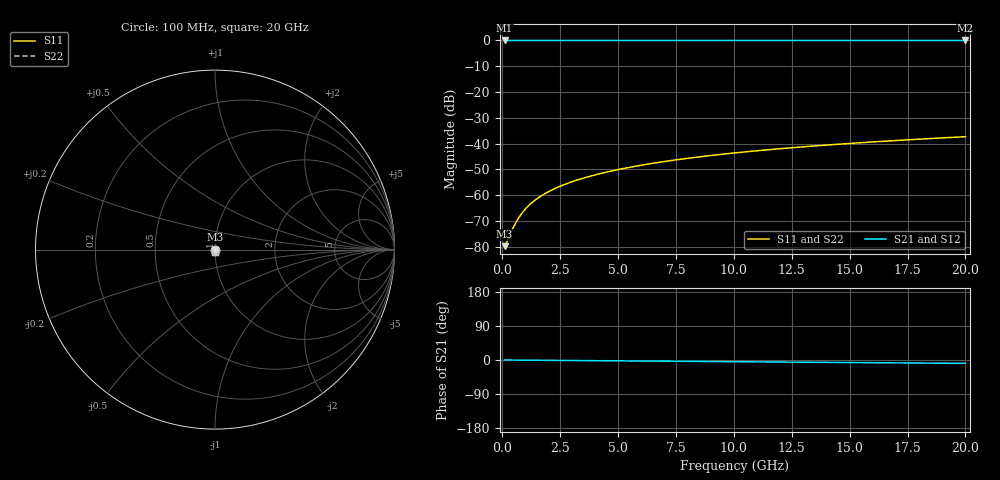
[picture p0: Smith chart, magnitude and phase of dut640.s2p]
! Touchstone file exported from HFSS 2026.1.0
!  File:  C:/ffzhzh/LocalFiles/Ansys_Project_Files/temp_train_TSV_640_1783026441_46388.aedt
!  Generated:  05:09:06 AM Jul  3, 2026
!  Design:  TSV
!  Project:  temp_train_TSV_640_1783026441_46388
! Variables:
!  h_bsmrdl = 2um
!  h_ox = 20um
!  h_rdl = 5um
!  h_sub = 90.68um
!  h_tmrdl = 5um
!  h_tsv = 90.68um
!  h_via = 3um
!  l_bsmrdl = 300um
!  l_sub = 425.3um
!  l_tmrdl = 200um
!  m_sub = 200um
!  pitch = 46.59um
!  r_tsv = 12.65um
!  s_tmrdl = 10um
!  w_bsmrdl = 18um
!  w_sub = 500um
!  w_tmrdl = 12um
!  x_tsv_center1 = 206um
!  x_tsv_center2 = 524um
!  x_tsv_center3 = 736um
!  x_tsv_center4 = 1054um
!  x_tsv_center5 = 1266um
!  x_tsv_center6 = 1584um
# GHz S MA R 50.000000
! Terminal data exported
! Port[1] = TSV1_1_T1
! Port[2] = TSV1_1_T2
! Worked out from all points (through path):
!   200 points, 100 MHz to 20 GHz, reference 50 ohm
!   highest |S21| = 0.00 dB at 100 MHz (marker M1); lowest = 0.0 dB at 20 GHz (marker M2)
!   group delay of S21, straight-line fit = 1.24 ps
!   lowest |S11| = -79.8 dB at 100 MHz (marker M3), VSWR 1.00, Z = 50 - j0.00206 ohm
!   |S11| at or under -10 dB: start of sweep to end of sweep
!   |S22| runs from -79.8 to -37.3 dB; largest |S21 - S12| = 2e-15
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0.1  0.0001019 -11.7  0.9999 -0.0  0.9999 -0.0  0.0001019 -11.7
! Gamma 0 0 0 0
! Port Impedance 50 0 50 0
0.2  0.0001229 -21.5  0.9999 -0.1  0.9999 -0.1  0.0001229 -21.5
0.4  0.0001975 -35.4  0.9998 -0.2  0.9998 -0.2  0.0001975 -35.4
0.5  0.0002462 -40.5  0.9998 -0.2  0.9998 -0.2  0.0002462 -40.5
0.6  0.0002997 -44.8  0.9998 -0.3  0.9998 -0.3  0.0002997 -44.8
0.7  0.0003566 -48.5  0.9998 -0.3  0.9998 -0.3  0.0003566 -48.5
0.8  0.0004158 -51.8  0.9997 -0.4  0.9997 -0.4  0.0004158 -51.8
1  0.0005379 -57.1  0.9997 -0.5  0.9997 -0.5  0.0005379 -57.1
1.3  0.0007253 -62.8  0.9997 -0.6  0.9997 -0.6  0.0007253 -62.8
1.7  0.0009774 -68.0  0.9996 -0.8  0.9996 -0.8  0.0009774 -68.0
2.2  0.001294 -72.1  0.9996 -1.0  0.9996 -1.0  0.001294 -72.1
2.8  0.001677 -75.2  0.9995 -1.3  0.9995 -1.3  0.001677 -75.2
3.5  0.00213 -77.7  0.9995 -1.6  0.9995 -1.6  0.00213 -77.7
4.2  0.002589 -79.4  0.9994 -1.9  0.9994 -1.9  0.002589 -79.4
5  0.003121 -80.9  0.9994 -2.2  0.9994 -2.2  0.003121 -80.9
5.9  0.003727 -82.3  0.9993 -2.7  0.9993 -2.7  0.003727 -82.3
6.8  0.00434 -83.5  0.9993 -3.1  0.9993 -3.1  0.00434 -83.5
8.3  0.005371 -85.2  0.9992 -3.7  0.9992 -3.7  0.005371 -85.2
10.1  0.006617 -86.9  0.9991 -4.5  0.9991 -4.5  0.006617 -86.9
13.4  0.008917 -89.5  0.999 -6.0  0.999 -6.0  0.008917 -89.5
16.7  0.01123 -91.7  0.9988 -7.5  0.9988 -7.5  0.01124 -91.7
20  0.01358 -93.7  0.9987 -8.9  0.9987 -8.9  0.01358 -93.7
